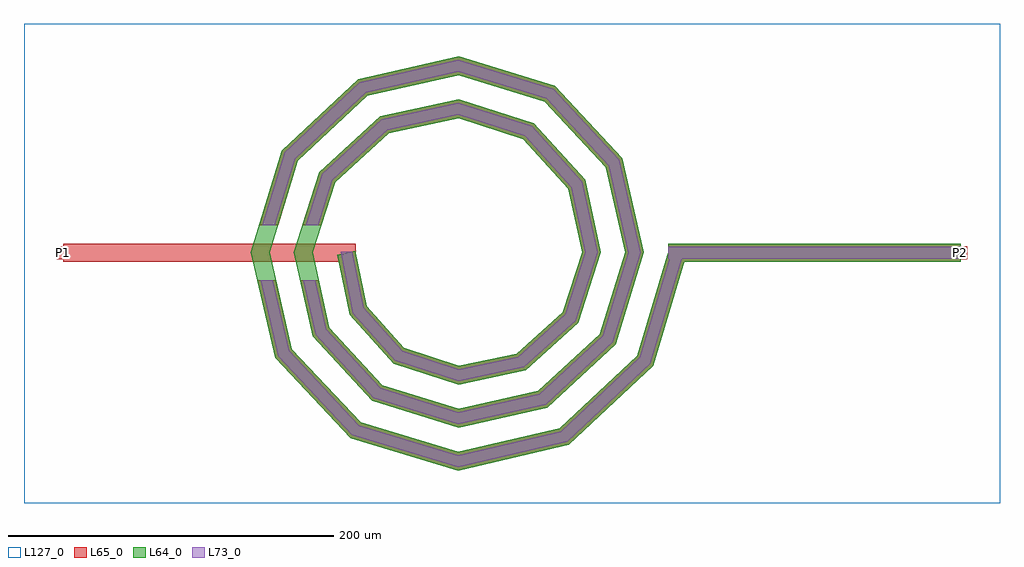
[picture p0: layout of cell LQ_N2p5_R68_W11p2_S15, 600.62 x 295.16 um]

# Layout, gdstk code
import gdstk
lib = gdstk.Library(unit=1e-6, precision=1e-09)
def R(c, l, rs):  # rectangles x0, y0, x1, y1
    for r in rs: c.add(gdstk.rectangle(r[:2], r[2:], *l))
def P(c, l, *ps):  # polygons
    for p in ps: c.add(gdstk.Polygon(p, *l))
L64_0 = (64, 0)
L65_0 = (65, 0)
L73_0 = (73, 0)
L127_0 = (127, 0)

lq_n2p5_r68_w11p2_s15 = lib.new_cell('LQ_N2p5_R68_W11p2_S15')
R(lq_n2p5_r68_w11p2_s15, L64_0, [(129.434,-5.6,309.434,5.6)])
P(lq_n2p5_r68_w11p2_s15, L64_0, [(-56.297,-32.891),(-33.422,-58.54),(0.316,-69.616),(36.179,-62.048),(64.264,-36.757),(76.241,0.291),(67.797,39.47),(40.089,69.989),(0.269,82.865),(-42.764,73.544),(-75.716,43.419),(-89.489,0.251),(-79.29,-46.061),(-46.746,-81.445),(0.234,-96.114),(49.36,-85.035),(87.174,-50.071),(102.739,0.22),(90.779,52.66),(53.395,92.905),(0.207,109.364),(-55.962,96.523),(-98.637,56.717),(-115.989,0.196),(-102.265,-59.265),(-60.039,-104.369),(0.186,-122.614),(62.569,-108.008),(110.101,-63.359),(129.672,1.615),(140.396,-1.615),(119.959,-69.466),(68.048,-118.228),(0.186,-134.204),(-66.161,-114.217),(-112.495,-64.726),(-127.578,0.196),(-108.473,62.858),(-61.404,106.762),(0.207,120.953),(59.555,102.73),(101.03,58.081),(114.327,0.22),(96.985,-56.254),(54.756,-95.299),(0.234,-107.701),(-52.954,-91.24),(-89.569,-51.43),(-101.075,0.251),(-85.493,49.655),(-48.101,83.84),(0.269,94.449),(46.36,79.745),(78.112,44.77),(87.823,0.291),(73.995,-43.066),(41.436,-72.385),(0.316,-81.197),(-39.776,-68.243),(-66.661,-38.098),(-74.266,-1.128),(-63.296,1.128)])
R(lq_n2p5_r68_w11p2_s15, L65_0, [(-243.181,-5.6,-63.181,5.6), (129.434,-5.6,309.434,5.6), (-247.181,-4,-239.181,4), (305.434,-4,313.434,4)])
P(lq_n2p5_r68_w11p2_s15, L65_0, [(-102.265,-59.265),(-60.039,-104.369),(0.186,-122.614),(62.569,-108.008),(110.101,-63.36),(129.672,1.615),(140.396,-1.615),(119.959,-69.466),(68.048,-118.228),(0.186,-134.204),(-66.162,-114.217),(-112.495,-64.727),(-123.63,-16.8),(-112.131,-16.8)],
  [(-79.29,-46.061),(-46.746,-81.445),(0.234,-96.114),(49.36,-85.035),(87.174,-50.071),(102.739,0.22),(90.779,52.66),(53.395,92.905),(0.207,109.364),(-55.962,96.523),(-98.637,56.717),(-110.807,16.8),(-122.516,16.8),(-108.473,62.858),(-61.404,106.762),(0.207,120.953),(59.555,102.73),(101.031,58.081),(114.327,0.22),(96.985,-56.254),(54.756,-95.299),(0.234,-107.701),(-52.954,-91.24),(-89.569,-51.43),(-97.279,-16.8),(-85.805,-16.8)],
  [(-33.422,-58.541),(0.317,-69.617),(36.179,-62.048),(64.263,-36.757),(76.241,0.291),(67.797,39.47),(40.089,69.989),(0.269,82.865),(-42.764,73.544),(-75.716,43.419),(-84.112,16.8),(-95.856,16.8),(-85.493,49.656),(-48.102,83.84),(0.269,94.449),(46.36,79.745),(78.112,44.771),(87.823,0.291),(73.995,-43.066),(41.437,-72.385),(0.317,-81.197),(-39.776,-68.243),(-66.661,-38.098),(-74.267,-1.129),(-63.296,1.129),(-56.297,-32.891)])
R(lq_n2p5_r68_w11p2_s15, L73_0, [(129.434,-3.6,309.434,3.6)])
P(lq_n2p5_r68_w11p2_s15, L73_0, [(-104.092,-60.241),(-61.132,-106.127),(0.12,-124.683),(63.548,-109.833),(111.862,-64.45),(131.587,1.038),(138.481,-1.038),(118.199,-68.376),(67.07,-116.403),(0.12,-132.134),(-65.068,-112.458),(-110.668,-63.751),(-121.576,-16.8),(-114.185,-16.8)],
  [(-81.126,-47.02),(-47.854,-83.194),(0.151,-98.183),(50.324,-86.868),(88.926,-51.175),(104.808,0.141),(92.61,53.628),(54.495,94.66),(0.133,111.433),(-56.934,98.351),(-100.393,57.814),(-112.898,16.8),(-120.425,16.8),(-106.717,61.761),(-60.433,104.934),(0.133,118.883),(58.455,100.975),(99.2,57.113),(112.258,0.141),(95.233,-55.15),(53.793,-93.466),(0.151,-105.632),(-51.845,-89.49),(-87.733,-50.471),(-95.23,-16.8),(-87.854,-16.8)],
  [(-34.557,-60.273),(0.204,-71.684),(37.118,-63.894),(66.001,-37.884),(78.309,0.187),(69.639,40.416),(41.209,71.731),(0.173,84.934),(-43.717,75.383),(-77.462,44.532),(-86.209,16.8),(-93.758,16.8),(-83.747,48.542),(-47.148,82.001),(0.173,92.381),(45.24,78.003),(76.27,43.824),(85.755,0.187),(72.257,-41.94),(40.498,-70.539),(0.204,-79.129),(-38.642,-66.51),(-64.81,-37.169),(-72.308,0.725),(-65.255,0.725),(-58.148,-33.821)])
R(lq_n2p5_r68_w11p2_s15, L127_0, [(-267.181,-154.204,333.434,140.953)])
lq_n2p5_r68_w11p2_s15.add(gdstk.Label('P2', (309.434,0), layer=65, texttype=0))
lq_n2p5_r68_w11p2_s15.add(gdstk.Label('P1', (-243.181,0), layer=65, texttype=0))
lq_n2p5_r68_w11p2_s15.add(gdstk.Label('P2', (313.434,0), layer=145, texttype=0))
lq_n2p5_r68_w11p2_s15.add(gdstk.Label('P1', (-247.181,0), layer=145, texttype=0))

lib.write_gds('LQ_N2p5_R68_W11p2_S15.gds')
